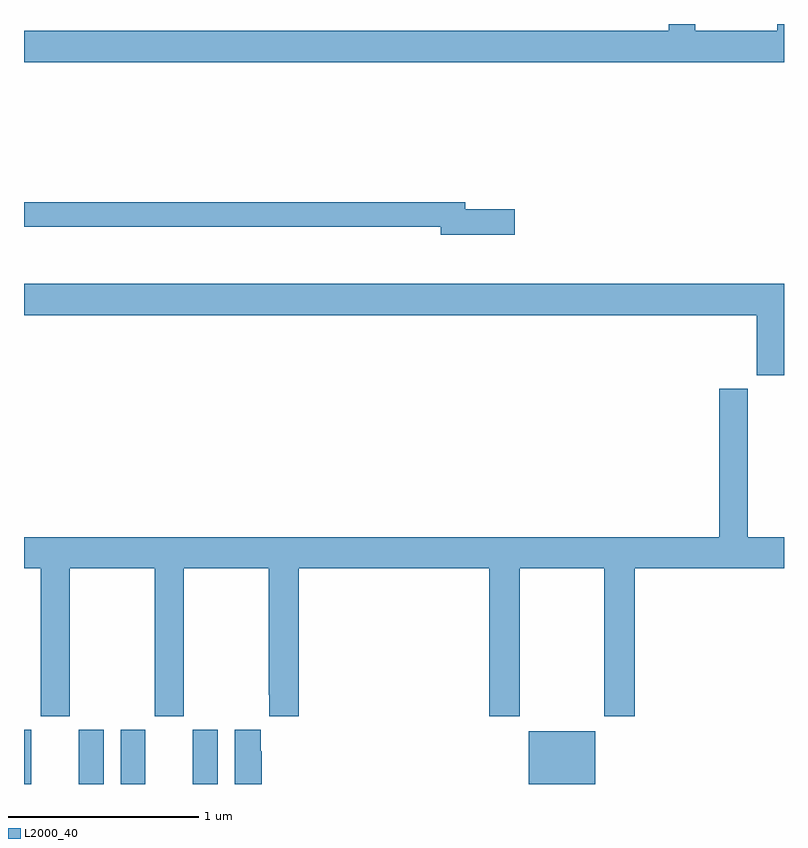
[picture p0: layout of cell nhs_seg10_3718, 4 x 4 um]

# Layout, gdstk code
import gdstk
lib = gdstk.Library(unit=1e-6, precision=1e-09)
def R(c, l, rs):  # rectangles x0, y0, x1, y1
    for r in rs: c.add(gdstk.rectangle(r[:2], r[2:], *l))
def P(c, l, *ps):  # polygons
    for p in ps: c.add(gdstk.Polygon(p, *l))
L2000_40 = (2000, 40)

nhs_seg10_3718 = lib.new_cell('nhs_seg10_3718')
R(nhs_seg10_3718, L2000_40, [(313,1312.5,313.039,1312.786), (313.289,1312.5,313.42,1312.786), (313.508,1312.5,313.639,1312.786), (313.889,1312.5,314.02,1312.786), (315.656,1312.5,316.006,1312.777)])
P(nhs_seg10_3718, L2000_40, [(317,1316.5),(316.964,1316.5),(316.964,1316.464),(316.534,1316.464),(316.534,1316.5),(316.394,1316.5),(316.394,1316.464),(313,1316.464),(313,1316.3),(317,1316.3)],
  [(315.583,1315.526),(315.322,1315.526),(315.322,1315.562),(313,1315.562),(313,1315.434),(315.194,1315.434),(315.194,1315.391),(315.583,1315.391)],
  [(317,1315.132),(313,1315.132),(313,1314.968),(316.856,1314.968),(316.856,1314.651),(317,1314.651)],
  [(313.242,1313.636),(313.687,1313.636),(313.687,1312.857),(313.842,1312.857),(313.842,1313.636),(314.287,1313.636),(314.287,1312.969),(314.291,1312.969),(314.291,1312.857),(314.447,1312.857),(314.447,1313.636),(315.449,1313.636),(315.449,1312.857),(315.609,1312.857),(315.609,1313.636),(316.054,1313.636),(316.054,1312.857),(316.214,1312.857),(316.214,1313.636),(317,1313.636),(317,1313.8),(316.81,1313.8),(316.81,1314.579),(316.658,1314.579),(316.658,1313.8),(313,1313.8),(313,1313.636),(313.087,1313.636),(313.087,1312.857),(313.242,1312.857)],
  [(314.252,1312.673),(314.245,1312.673),(314.245,1312.786),(314.108,1312.786),(314.108,1312.5),(314.252,1312.5)])

lib.write_gds('nhs_seg10_3718.gds')
